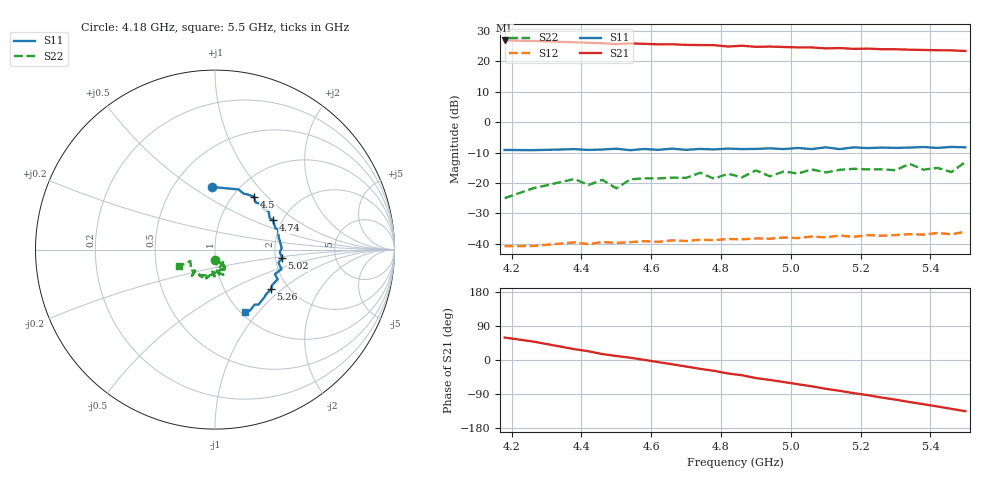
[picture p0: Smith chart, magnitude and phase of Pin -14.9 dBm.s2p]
! RsaToolbox (C) 2015 Rohde & Schwarz America
! Number of points: 31
! Number of ports: 2
! Balanced ports?: No
# Hz S RI R 50
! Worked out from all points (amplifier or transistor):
!   31 points, 4.18 GHz to 5.5 GHz, reference 50 ohm
!   highest |S21| = 26.9 dB at 4.18 GHz (marker M1)
!   |S21| within 3 dB of that: start of sweep to 5.329 GHz
!   unconditionally stable (mu >= 1): start of sweep to end of sweep
!   at 4.5 GHz: K = 2.23, MAG = 26.5 dB, |S12| = -39.7 dB
!   at 4.9 GHz: K = 2.03, MAG = 25.7 dB, |S12| = -38.2 dB
!   at 5.5 GHz: K = 1.78, MAG = 24.6 dB, |S12| = -36.1 dB
!   S11 on the Smith chart (normalised r, x): 4.18 GHz: 0.76, +0.60; 4.5 GHz: 1.24, +0.84; 4.74 GHz: 1.79, +0.68; 5.02 GHz: 2.18, -0.24; 5.26 GHz: 1.64, -0.85; 5.5 GHz: 1.05, -0.86
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4.18e9  -0.0177 0.3492  11.36 19.02  0.00817 0.00406  0.00023 -0.0562
4.26e9  0.0545 0.3424  14.28 16.38  0.00871 0.0029  0.0306 -0.0752
4.38e9  0.1312 0.3352  18.15 9.915  0.0105 0.000643  0.0511 -0.1045
4.42e9  0.1612 0.3106  18.68 7.93  0.00984 -3.03e-05  0.0438 -0.0813
4.46e9  0.1751 0.3091  19.18 5.376  0.0106 -0.000995  0.0568 -0.0972
4.5e9  0.218 0.2946  18.98 3.563  0.0102 -0.00167  0.0436 -0.0687
4.54e9  0.2258 0.2626  19.72 2.082  0.0103 -0.00269  0.0198 -0.113
4.62e9  0.2684 0.227  18.99 -1.84  0.00969 -0.0046  0.0256 -0.1162
4.66e9  0.2985 0.2138  18.78 -3.756  0.0102 -0.00493  0.0506 -0.1112
4.74e9  0.324 0.1637  17.07 -7.347  0.00955 -0.00662  0.047 -0.1397
4.78e9  0.3356 0.1201  16.27 -8.876  0.00822 -0.00799  0.00929 -0.1172
4.82e9  0.3509 0.1126  14.31 -10.23  0.00861 -0.00834  0.0251 -0.1397
4.86e9  0.3553 0.0627  13.85 -11.73  0.00714 -0.00942  -0.015 -0.1227
4.9e9  0.3596 0.0536  11.71 -12.88  0.00709 -0.01  0.0015 -0.1614
4.94e9  0.3716 0.0083  10.68 -13.97  0.00587 -0.0106  -0.00739 -0.1284
5.02e9  0.3739 -0.0473  7.485 -15.27  0.00442 -0.0116  -0.0252 -0.1407
5.06e9  0.3539 -0.0728  5.956 -15.94  0.00327 -0.0127  -0.0495 -0.16
5.14e9  0.3336 -0.1366  2.506 -16.42  0.000929 -0.0136  -0.0837 -0.1416
5.26e9  0.3121 -0.221  -2.528 -15.7  -0.00167 -0.0135  -0.0777 -0.1486
5.3e9  0.2831 -0.2507  -3.989 -15.36  -0.00322 -0.0135  -0.1134 -0.1156
5.42e9  0.2204 -0.3065  -8.256 -12.86  -0.00659 -0.0135  -0.1353 -0.1146
5.5e9  0.1685 -0.3477  -10.54 -10.5  -0.00899 -0.0129  -0.2014 -0.0936
